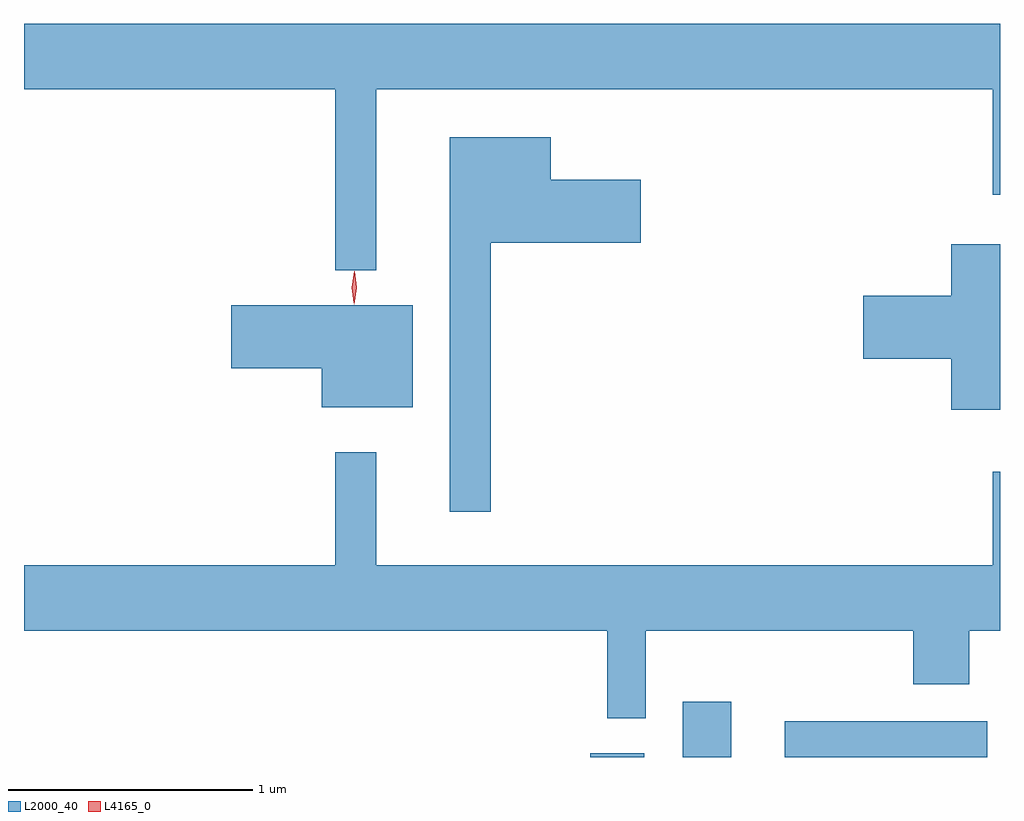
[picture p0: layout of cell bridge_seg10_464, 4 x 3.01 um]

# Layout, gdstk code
import gdstk
lib = gdstk.Library(unit=1e-6, precision=1e-09)
def R(c, l, rs):  # rectangles x0, y0, x1, y1
    for r in rs: c.add(gdstk.rectangle(r[:2], r[2:], *l))
def P(c, l, *ps):  # polygons
    for p in ps: c.add(gdstk.Polygon(p, *l))
L2000_40 = (2000, 40)
L4165_0 = (4165, 0)

bridge_seg10_464 = lib.new_cell('bridge_seg10_464')
R(bridge_seg10_464, L2000_40, [(958.616,2182.217,958.839,2182.234), (958.996,2182.217,959.194,2182.444), (959.413,2182.217,960.244,2182.364)])
P(bridge_seg10_464, L2000_40, [(957.739,2184.956),(960.266,2184.956),(960.266,2184.523),(960.296,2184.523),(960.296,2185.224),(956.296,2185.224),(956.296,2184.956),(957.571,2184.956),(957.571,2184.213),(957.739,2184.213)],
  [(958.209,2184.326),(958.824,2184.326),(958.824,2184.584),(958.454,2184.584),(958.454,2184.759),(958.041,2184.759),(958.041,2183.223),(958.209,2183.223)],
  [(960.296,2184.319),(960.096,2184.319),(960.096,2184.109),(959.736,2184.109),(959.736,2183.851),(960.096,2183.851),(960.096,2183.641),(960.296,2183.641)],
  [(957.889,2184.069),(957.146,2184.069),(957.146,2183.811),(957.516,2183.811),(957.516,2183.651),(957.889,2183.651)],
  [(958.844,2182.736),(959.941,2182.736),(959.941,2182.516),(960.169,2182.516),(960.169,2182.736),(960.296,2182.736),(960.296,2183.388),(960.266,2183.388),(960.266,2183.004),(957.739,2183.004),(957.739,2183.468),(957.571,2183.468),(957.571,2183.004),(956.296,2183.004),(956.296,2182.736),(958.686,2182.736),(958.686,2182.378),(958.844,2182.378)])
P(bridge_seg10_464, L4165_0, [(957.649,2184.074),(957.64,2184.142),(957.65,2184.21),(957.65,2184.21),(957.651,2184.21),(957.66,2184.142),(957.65,2184.074),(957.65,2184.074)],
  [(957.648,2184.08),(957.648,2184.081),(957.639,2184.144),(957.649,2184.206),(957.65,2184.207),(957.65,2184.206),(957.659,2184.144),(957.649,2184.081)])

lib.write_gds('bridge_seg10_464.gds')
